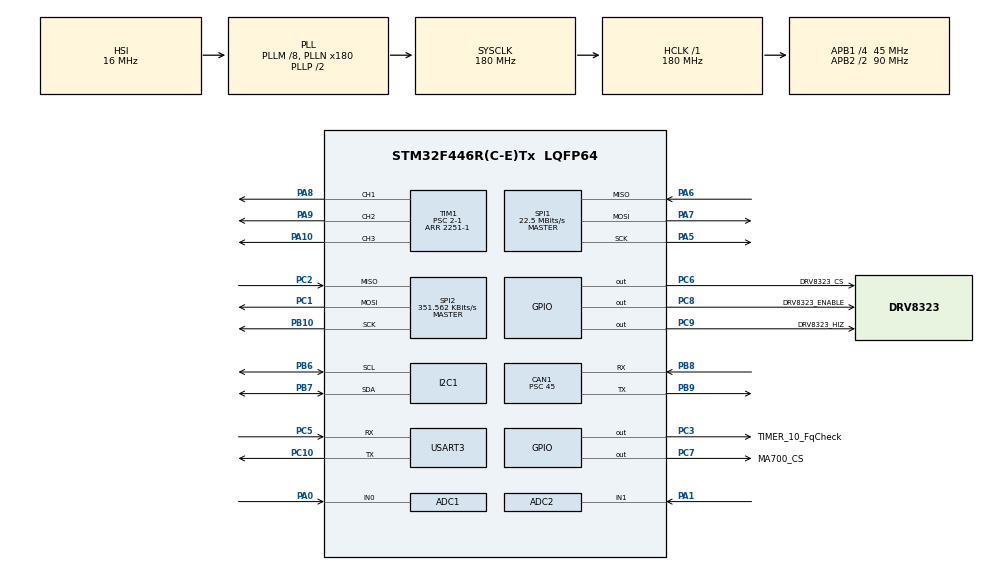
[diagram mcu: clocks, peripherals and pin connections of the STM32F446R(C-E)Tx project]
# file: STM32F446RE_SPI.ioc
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ADC1.Channel-1\#ChannelRegularConversion=ADC_CHANNEL_0
ADC1.ContinuousConvMode=DISABLE
ADC1.DMAContinuousRequests=DISABLE
ADC1.Mode=ADC_DUALMODE_INJECSIMULT
ADC1.NbrOfConversion=1
ADC1.NbrOfConversionFlag=1
ADC1.Rank-1\#ChannelRegularConversion=1
ADC1.SamplingTime-1\#ChannelRegularConversion=ADC_SAMPLETIME_15CYCLES
ADC1.ScanConvMode=DISABLE
ADC1.master=1
ADC2.Channel-1\#ChannelRegularConversion=ADC_CHANNEL_1
ADC2.Mode=ADC_DUALMODE_INJECSIMULT
ADC2.NbrOfConversionFlag=1
ADC2.Rank-1\#ChannelRegularConversion=1
ADC2.SamplingTime-1\#ChannelRegularConversion=ADC_SAMPLETIME_15CYCLES
CAN1.BS1=CAN_BS1_6TQ
CAN1.CalculateTimeQuantum=1000.0
CAN1.Prescaler=45
Mcu.Family=STM32F4
Mcu.Name=STM32F446R(C-E)Tx
Mcu.Package=LQFP64
NVIC.ADC_IRQn=true\:2\:0\:true\:false\:true\:true\:true
NVIC.CAN1_RX0_IRQn=true\:4\:0\:true\:false\:true\:true\:true
NVIC.CAN1_RX1_IRQn=true\:4\:0\:true\:false\:true\:true\:true
NVIC.CAN1_TX_IRQn=true\:4\:0\:true\:false\:true\:true\:true
NVIC.I2C1_ER_IRQn=true\:6\:0\:true\:false\:true\:true\:true
NVIC.I2C1_EV_IRQn=true\:6\:0\:true\:false\:true\:true\:true
NVIC.PriorityGroup=NVIC_PRIORITYGROUP_4
NVIC.SPI1_IRQn=true\:0\:0\:true\:false\:true\:true\:true
NVIC.SPI2_IRQn=true\:1\:0\:true\:false\:true\:true\:true
NVIC.TIM1_UP_TIM10_IRQn=true\:3\:0\:true\:false\:true\:true\:true
NVIC.USART3_IRQn=true\:4\:0\:true\:false\:true\:true\:true
PA0-WKUP.Signal=ADCx_IN0
PA1.Signal=ADCx_IN1
PA10.Signal=S_TIM1_CH3
PA13.Mode=Serial_Wire
PA13.Signal=SYS_JTMS-SWDIO
PA14.Mode=Serial_Wire
PA14.Signal=SYS_JTCK-SWCLK
PA5.Mode=Full_Duplex_Master
PA5.Signal=SPI1_SCK
PA6.Mode=Full_Duplex_Master
PA6.Signal=SPI1_MISO
PA7.Mode=Full_Duplex_Master
PA7.Signal=SPI1_MOSI
PA8.Signal=S_TIM1_CH1
PA9.Signal=S_TIM1_CH2
PB10.Mode=Full_Duplex_Master
PB10.Signal=SPI2_SCK
PB6.Mode=I2C
PB6.Signal=I2C1_SCL
PB7.Mode=I2C
PB7.Signal=I2C1_SDA
PB8.Mode=Master
PB8.Signal=CAN1_RX
PB9.Mode=Master
PB9.Signal=CAN1_TX
PC1.Mode=Full_Duplex_Master
PC1.Signal=SPI2_MOSI
PC10.Mode=Asynchronous
PC10.Signal=USART3_TX
PC2.Mode=Full_Duplex_Master
PC2.Signal=SPI2_MISO
PC3.GPIO_Label=TIMER_10_FqCheck
PC3.GPIO_Speed=GPIO_SPEED_FREQ_VERY_HIGH
PC3.Signal=GPIO_Output
PC5.Mode=Asynchronous
PC5.Signal=USART3_RX
PC6.GPIO_Label=DRV8323_CS
PC6.Signal=GPIO_Output
PC7.GPIO_Label=MA700_CS
PC7.Signal=GPIO_Output
PC8.GPIO_Label=DRV8323_ENABLE
PC8.Signal=GPIO_Output
PC9.GPIO_Label=DRV8323_HIZ
PC9.Signal=GPIO_Output
ProjectManager.HeapSize=0x200
ProjectManager.StackSize=0x400
ProjectManager.TargetToolchain=STM32CubeIDE
RCC.AHBFreq_Value=180000000
RCC.APB1CLKDivider=RCC_HCLK_DIV4
RCC.APB1Freq_Value=45000000
RCC.APB1TimFreq_Value=90000000
RCC.APB2CLKDivider=RCC_HCLK_DIV2
RCC.APB2Freq_Value=90000000
RCC.APB2TimFreq_Value=180000000
RCC.CortexFreq_Value=180000000
RCC.HCLKFreq_Value=180000000
RCC.PLLM=8
RCC.PLLN=180
RCC.SYSCLKFreq_VALUE=180000000
RCC.SYSCLKSource=RCC_SYSCLKSOURCE_PLLCLK
RCC.USBFreq_Value=180000000
RCC.VCOOutputFreq_Value=360000000
SH.ADCx_IN0.0=ADC1_IN0,IN0
SH.ADCx_IN1.0=ADC2_IN1,IN1
SH.S_TIM1_CH1.0=TIM1_CH1,PWM Generation1 CH1
SH.S_TIM1_CH2.0=TIM1_CH2,PWM Generation2 CH2
SH.S_TIM1_CH3.0=TIM1_CH3,PWM Generation3 CH3
SPI1.BaudRatePrescaler=SPI_BAUDRATEPRESCALER_4
SPI1.CLKPhase=SPI_PHASE_2EDGE
SPI1.CLKPolarity=SPI_POLARITY_HIGH
SPI1.CalculateBaudRate=22.5 MBits/s
SPI1.DataSize=SPI_DATASIZE_16BIT
SPI1.Direction=SPI_DIRECTION_2LINES
SPI1.Mode=SPI_MODE_MASTER
SPI1.VirtualType=VM_MASTER
SPI2.BaudRatePrescaler=SPI_BAUDRATEPRESCALER_128
SPI2.CLKPhase=SPI_PHASE_2EDGE
SPI2.CalculateBaudRate=351.562 KBits/s
SPI2.DataSize=SPI_DATASIZE_16BIT
SPI2.Direction=SPI_DIRECTION_2LINES
SPI2.Mode=SPI_MODE_MASTER
SPI2.VirtualType=VM_MASTER
TIM1.AutoReloadPreload=TIM_AUTORELOAD_PRELOAD_ENABLE
TIM1.Channel-PWM\ Generation1\ CH1=TIM_CHANNEL_1
TIM1.Channel-PWM\ Generation2\ CH2=TIM_CHANNEL_2
TIM1.Channel-PWM\ Generation3\ CH3=TIM_CHANNEL_3
TIM1.CounterMode=TIM_COUNTERMODE_CENTERALIGNED1
TIM1.OCFastMode_PWM-PWM\ Generation1\ CH1=TIM_OCFAST_ENABLE
TIM1.OCFastMode_PWM-PWM\ Generation2\ CH2=TIM_OCFAST_ENABLE
TIM1.OCFastMode_PWM-PWM\ Generation3\ CH3=TIM_OCFAST_ENABLE
TIM1.OCIdleState_1=TIM_OCIDLESTATE_RESET
TIM1.OCMode_PWM-PWM\ Generation1\ CH1=TIM_OCMODE_PWM1
TIM1.Period=2251-1
TIM1.Prescaler=2-1
TIM1.Pulse-PWM\ Generation1\ CH1=750
TIM1.Pulse-PWM\ Generation2\ CH2=1000
TIM1.Pulse-PWM\ Generation3\ CH3=1250
TIM1.TIM_MasterOutputTrigger=TIM_TRGO_UPDATE
TIM10.AutoReloadPreload=TIM_AUTORELOAD_PRELOAD_ENABLE
TIM10.Period=10001-1
TIM10.Prescaler=18001-1
USART3.VirtualMode=VM_ASYNC
USART3.WordLength=WORDLENGTH_8B
VP_TIM10_VS_ClockSourceINT.Mode=Enable_Timer
VP_TIM1_VS_ClockSourceINT.Mode=Internal
board=custom

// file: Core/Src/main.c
/* USER CODE BEGIN Header */
/**
  ******************************************************************************
  * @file           : main.c
  * @brief          : Main program body
  ******************************************************************************
  * @attention
  *
  * <h2><center>&copy; Copyright (c) 2020 STMicroelectronics.
  * All rights reserved.</center></h2>
  *
  * This software component is licensed by ST under BSD 3-Clause license,
  * the "License"; You may not use this file except in compliance with the
  * License. You may obtain a copy of the License at:
  *                        opensource.org/licenses/BSD-3-Clause
  *
  ******************************************************************************
  */
/* USER CODE END Header */
#include "main.h"

/* USER CODE BEGIN Includes */
#include "stdio.h"
/* USER CODE END Includes */

ADC_HandleTypeDef hadc1;
ADC_HandleTypeDef hadc2;

CAN_HandleTypeDef hcan1;

I2C_HandleTypeDef hi2c1;

SPI_HandleTypeDef hspi1;
SPI_HandleTypeDef hspi2;

TIM_HandleTypeDef htim1;
TIM_HandleTypeDef htim10;

UART_HandleTypeDef huart3;

/* USER CODE BEGIN PV */
extern CircularBuffer gRX_buffer;

extern SPIStruct s_drv832xSPI;
extern SPIStruct s_ma700xSPI;

extern CANStruct s_can1;

extern AngularPositionSensorStruct s_encoder;

uint8_t  ADC1_Flag;
uint8_t  ADC2_Flag;

uint8_t  TIMER1_Flag;
uint8_t  TIMER10_Flag;
uint32_t TIMER1_Counter;

ControllerStruct controller;
/* USER CODE END PV */

void SystemClock_Config(void);
static void MX_GPIO_Init(void);
static void MX_SPI1_Init(void);
static void MX_I2C1_Init(void);
static void MX_CAN1_Init(void);
static void MX_TIM1_Init(void);
static void MX_ADC1_Init(void);
static void MX_SPI2_Init(void);
static void MX_ADC2_Init(void);
static void MX_TIM10_Init(void);
static void MX_USART3_UART_Init(void);
/* USER CODE BEGIN PFP */
void Timer1Process(void);
void Timer10Process(void);
void Can1Process(void);
void SPI1Process(void);
void SPI2Process(void);
void ADCProcess(void);
/* USER CODE END PFP */

/* USER CODE BEGIN 0 */

/**
  * @brief  Tx Transfer completed callback.
  * @param  hspi pointer to a SPI_HandleTypeDef structure that contains
  *               the configuration information for SPI module.
  * @retval None
  */
void HAL_SPI_TxCpltCallback(SPI_HandleTypeDef *hspi)
{
  if(hspi->Instance == SPI1){
		HAL_GPIO_WritePin(MA700_CS_GPIO_Port, MA700_CS_Pin, GPIO_PIN_SET);
		s_ma700xSPI.SPI_RX_Flag = 1;
		s_encoder.raw_value 	     = s_ma700xSPI.SPI_RX_Data[0]; //Updated in callback
  }
  if(hspi->Instance == SPI2){
		HAL_GPIO_WritePin(DRV8323_CS_GPIO_Port, DRV8323_CS_Pin, GPIO_PIN_SET);
		s_drv832xSPI.SPI_RX_Flag = 1;
  }
}
/**
  * @brief  Rx Transfer completed callback.
  * @param  hspi pointer to a SPI_HandleTypeDef structure that contains
  *               the configuration information for SPI module.
  * @retval None
  */
void HAL_SPI_RxCpltCallback(SPI_HandleTypeDef *hspi){
  if(hspi->Instance == SPI1){
		HAL_GPIO_WritePin(MA700_CS_GPIO_Port, MA700_CS_Pin, GPIO_PIN_SET);
		s_ma700xSPI.SPI_RX_Flag = 1;
		s_encoder.raw_value 	     = s_ma700xSPI.SPI_RX_Data[0]; //Updated in callback
  }
  if(hspi->Instance == SPI2){
		HAL_GPIO_WritePin(DRV8323_CS_GPIO_Port, DRV8323_CS_Pin, GPIO_PIN_SET);
		s_drv832xSPI.SPI_RX_Flag = 1;
  }
}

/**
  * @brief  TxRx SPI pending callback
  * @param  hspi: pointer to a SPI_HandleTypeDef structure that contains
  *         the configuration information for the specified SPI.
  * @retval None
  */
void HAL_SPI_TxRxCpltCallback(SPI_HandleTypeDef *hspi)
{
  if(hspi->Instance == SPI1){
		HAL_GPIO_WritePin(MA700_CS_GPIO_Port, MA700_CS_Pin, GPIO_PIN_SET);
		s_ma700xSPI.SPI_RX_Flag = 1;
		s_encoder.raw_value 	     = s_ma700xSPI.SPI_RX_Data[0]; //Updated in callback
  }
  if(hspi->Instance == SPI2){
		HAL_GPIO_WritePin(DRV8323_CS_GPIO_Port, DRV8323_CS_Pin, GPIO_PIN_SET);
		s_drv832xSPI.SPI_RX_Flag = 1;
  }
}

/**
  * @brief  Rx Fifo 0 message pending callback
  * @param  hcan: pointer to a CAN_HandleTypeDef structure that contains
  *         the configuration information for the specified CAN.
  * @retval None
  */
void HAL_CAN_RxFifo0MsgPendingCallback(CAN_HandleTypeDef *hcan)
{
  if(hcan->Instance == CAN1){
	  s_can1.RxFlag = 1;
	  /* Get RX message */
	  if (HAL_CAN_GetRxMessage(hcan, CAN_RX_FIFO0, &s_can1.RxHeader, s_can1.RxData) != HAL_OK)
	  {
	    /* Reception Error */
	    Error_Handler();
	  }
  }
}

/**
  * @brief  Rx Fifo 0 message pending callback
  * @param  hcan: pointer to a CAN_HandleTypeDef structure that contains
  *         the configuration information for the specified CAN.
  * @retval None
  */
void HAL_TIM_PeriodElapsedCallback(TIM_HandleTypeDef *htim)
{
  if(htim->Instance == TIM1){
	  TIMER1_Flag = 1;
  }
  if(htim->Instance == TIM10){
	  TIMER10_Flag = 1;
  }
}

/**
  * @brief  ADC Conv pending callback
  * @param  hadc: pointer to a ADC_HandleTypeDef structure that contains
  *         the configuration information for the specified ADC.
  * @retval None
  */

void HAL_ADC_ConvCpltCallback(ADC_HandleTypeDef* hadc)
{
  if(hadc->Instance == ADC1){
	  controller.adc1_raw = HAL_ADC_GetValue (&hadc1);
	  ADC1_Flag = 1;
  }
  if(hadc->Instance == ADC2){
	  controller.adc2_raw = HAL_ADC_GetValue (&hadc2);
	  ADC2_Flag = 1;
  }
}

void HAL_ADCEx_InjectedConvCpltCallback(ADC_HandleTypeDef* hadc){
  if(hadc->Instance == ADC1){
	  ADC1_Flag = 1;
	  controller.adc1_raw = HAL_ADCEx_InjectedGetValue(hadc, ADC_INJECTED_RANK_1);
  }
  if(hadc->Instance == ADC2){
	  ADC2_Flag = 1;
	  controller.adc2_raw = HAL_ADCEx_InjectedGetValue(hadc, ADC_INJECTED_RANK_1);
  }
}

void HAL_TIM_PWM_PulseFinishedCallback (TIM_HandleTypeDef* htim){
	HAL_GPIO_TogglePin(TIMER_10_FqCheck_GPIO_Port, TIMER_10_FqCheck_Pin);
}
/**
  * @brief  Timer 1 Process pending flag.
  * Entry Count
  * @param  none
  *
  * @retval None
  */
void Timer1Process(void)
{
	if(TIMER1_Flag == 1){
		//Trigger a angle measurement
		HAL_GPIO_WritePin(MA700_CS_GPIO_Port, MA700_CS_Pin, GPIO_PIN_RESET);
		HAL_SPI_Receive_IT(&hspi1, (uint8_t*)s_ma700xSPI.SPI_RX_Data, 1);

		HAL_ADCEx_InjectedStart_IT(&hadc1); //Trigger Current Measurements
		HAL_ADCEx_InjectedStart_IT(&hadc2);

	}
	TIMER1_Flag = 0;
}

/**
  * @brief  Timer 10 Process pending flag.
  * Entry Count
  * @param  none
  *
  * @retval None
  */
void Timer10Process(void)
{
	if(TIMER10_Flag == 1){
		//Trigger a angle measurement
		printEncoder();
		printf("ADC1[]: 0x%x   ADC2[]: 0x%x\n\r", controller.adc1_raw, controller.adc2_raw);
	}
	TIMER10_Flag = 0;
}

/**
  * @brief  Can 1 Process pending flag.
  * Entry Count
  * @param  none
  *
  * @retval None
  */
void Can1Process(void)
{
	//HAL_CAN_AddTxMessage(&hcan1, &TxHeader_CAN1, &spi_ma700_rx_raw, &TxMailbox_CAN1);  //function to add message for transmition
	if(s_can1.RxFlag == 1){
		s_can1.RxFlag = 0;
		printf("\n\rCAN1_MsgRec: ID: 0x%x\n\r", s_can1.RxHeader.StdId);
	}
}

/**
  * @brief  SPI 1 Process pending flag.
  * @param  none
  *
  * @retval None
  */
void SPI1Process(void)
{
	if(s_ma700xSPI.SPI_RX_Flag == 1){
		s_ma700xSPI.SPI_RX_Flag = 0;
		updateEncoder(0.000025);
	}
}

/**
  * @brief  SPI 2 Process pending flag.
  * @param  none
  *
  * @retval None
  */
void SPI2Process(void)
{
	if(s_drv832xSPI.SPI_RX_Flag == 1){
		//Check whats in the TX register to see what we asked from the DRV. Once its set up we interact through 3xPWM
		s_drv832xSPI.SPI_RX_Flag = 0;
		printf("spi2Tx: 0x%x, spi2Rx: 0x%x\n\r", s_drv832xSPI.SPI_TX_Data[0],s_drv832xSPI.SPI_RX_Data[0]);
	}
}

/* USER CODE END 0 */

int main(void)
{

  /* MCU Configuration--------------------------------------------------------*/

  /* Reset of all peripherals, Initializes the Flash interface and the Systick. */
  HAL_Init();

  /* Configure the system clock */
  SystemClock_Config();

  /* Initialize all configured peripherals */
  MX_GPIO_Init();
  MX_SPI1_Init();
  MX_I2C1_Init();
  MX_CAN1_Init();
  MX_TIM1_Init();
  MX_ADC1_Init();
  MX_SPI2_Init();
  MX_ADC2_Init();
  MX_TIM10_Init();
  MX_USART3_UART_Init();
  /* USER CODE BEGIN 2 */
  HAL_TIM_Base_Start_IT(&htim1); //Start the timers
  HAL_TIM_PWM_Start_IT(&htim1, TIM_CHANNEL_1);
  HAL_TIM_PWM_Start_IT(&htim1, TIM_CHANNEL_4);
  HAL_TIM_Base_Start_IT(&htim10);

  DRV832x_initSPIInterface(DRV8323_CS_GPIO_Port,DRV8323_CS_Pin,&hspi2,DRV8323_ENABLE_GPIO_Port, DRV8323_ENABLE_Pin);
  DRV832x_enableHiZState(DRV8323_HIZ_GPIO_Port,DRV8323_HIZ_Pin);
  MA700_initSPIInterface(MA700_CS_GPIO_Port,MA700_CS_Pin,&hspi1);

  enable_can1(); //Start can and set filter to accept all msgs

  RetargetInit(&huart3); //Configure/Init the uart i/o interface.
  InitCommandLineProcess();

  printf("\033\143"); //Reset the putty terminal.
  printf("\rHello World\n\r");
  HAL_Delay(1);
  //MCP9808PrintTemp(&hi2c1); //I2C for shits and gigs, currently in blocking mode.

  DRV832x_read_FSR1();
  HAL_Delay(1);
  SPI2Process();
  DRV832x_read_FSR2();
  HAL_Delay(1);
  SPI2Process();
  DRV832x_blocking_configure();
  /* USER CODE END 2 */

  /* Infinite loop */
  /* USER CODE BEGIN WHILE */
  while (1)
  {
	CommandLineProcess();

	Timer1Process();
	Timer10Process();

    Can1Process();
    SPI1Process();
    SPI2Process();
    /* USER CODE END WHILE */

  }
}

void SystemClock_Config(void)
{
  RCC_OscInitTypeDef RCC_OscInitStruct = {0};
  RCC_ClkInitTypeDef RCC_ClkInitStruct = {0};

  /** Configure the main internal regulator output voltage
  */
  __HAL_RCC_PWR_CLK_ENABLE();
  __HAL_PWR_VOLTAGESCALING_CONFIG(PWR_REGULATOR_VOLTAGE_SCALE1);
  /** Initializes the RCC Oscillators according to the specified parameters
  * in the RCC_OscInitTypeDef structure.
  */
  RCC_OscInitStruct.OscillatorType = RCC_OSCILLATORTYPE_HSI;
  RCC_OscInitStruct.HSIState = RCC_HSI_ON;
  RCC_OscInitStruct.HSICalibrationValue = RCC_HSICALIBRATION_DEFAULT;
  RCC_OscInitStruct.PLL.PLLState = RCC_PLL_ON;
  RCC_OscInitStruct.PLL.PLLSource = RCC_PLLSOURCE_HSI;
  RCC_OscInitStruct.PLL.PLLM = 8;
  RCC_OscInitStruct.PLL.PLLN = 180;
  RCC_OscInitStruct.PLL.PLLP = RCC_PLLP_DIV2;
  RCC_OscInitStruct.PLL.PLLQ = 2;
  RCC_OscInitStruct.PLL.PLLR = 2;
  if (HAL_RCC_OscConfig(&RCC_OscInitStruct) != HAL_OK)
  {
    Error_Handler();
  }
  /** Activate the Over-Drive mode
  */
  if (HAL_PWREx_EnableOverDrive() != HAL_OK)
  {
    Error_Handler();
  }
  /** Initializes the CPU, AHB and APB buses clocks
  */
  RCC_ClkInitStruct.ClockType = RCC_CLOCKTYPE_HCLK|RCC_CLOCKTYPE_SYSCLK
                              |RCC_CLOCKTYPE_PCLK1|RCC_CLOCKTYPE_PCLK2;
  RCC_ClkInitStruct.SYSCLKSource = RCC_SYSCLKSOURCE_PLLCLK;
  RCC_ClkInitStruct.AHBCLKDivider = RCC_SYSCLK_DIV1;
  RCC_ClkInitStruct.APB1CLKDivider = RCC_HCLK_DIV4;
  RCC_ClkInitStruct.APB2CLKDivider = RCC_HCLK_DIV2;

  if (HAL_RCC_ClockConfig(&RCC_ClkInitStruct, FLASH_LATENCY_5) != HAL_OK)
  {
    Error_Handler();
  }
}

static void MX_ADC1_Init(void)
{

  ADC_MultiModeTypeDef multimode = {0};
  ADC_ChannelConfTypeDef sConfig = {0};

  /** Configure the global features of the ADC (Clock, Resolution, Data Alignment and number of conversion)
  */
  hadc1.Instance = ADC1;
  hadc1.Init.ClockPrescaler = ADC_CLOCK_SYNC_PCLK_DIV4;
  hadc1.Init.Resolution = ADC_RESOLUTION_12B;
  hadc1.Init.ScanConvMode = DISABLE;
  hadc1.Init.ContinuousConvMode = DISABLE;
  hadc1.Init.DiscontinuousConvMode = DISABLE;
  hadc1.Init.ExternalTrigConvEdge = ADC_EXTERNALTRIGCONVEDGE_NONE;
  hadc1.Init.ExternalTrigConv = ADC_SOFTWARE_START;
  hadc1.Init.DataAlign = ADC_DATAALIGN_RIGHT;
  hadc1.Init.NbrOfConversion = 1;
  hadc1.Init.DMAContinuousRequests = DISABLE;
  hadc1.Init.EOCSelection = ADC_EOC_SINGLE_CONV;
  if (HAL_ADC_Init(&hadc1) != HAL_OK)
  {
    Error_Handler();
  }
  /** Configure the ADC multi-mode
  */
  multimode.Mode = ADC_DUALMODE_INJECSIMULT;
  multimode.TwoSamplingDelay = ADC_TWOSAMPLINGDELAY_5CYCLES;
  if (HAL_ADCEx_MultiModeConfigChannel(&hadc1, &multimode) != HAL_OK)
  {
    Error_Handler();
  }
  /** Configure for the selected ADC regular channel its corresponding rank in the sequencer and its sample time.
  */
  sConfig.Channel = ADC_CHANNEL_0;
  sConfig.Rank = 1;
  sConfig.SamplingTime = ADC_SAMPLETIME_15CYCLES;
  if (HAL_ADC_ConfigChannel(&hadc1, &sConfig) != HAL_OK)
  {
    Error_Handler();
  }

}

static void MX_ADC2_Init(void)
{

  ADC_ChannelConfTypeDef sConfig = {0};

  /** Configure the global features of the ADC (Clock, Resolution, Data Alignment and number of conversion)
  */
  hadc2.Instance = ADC2;
  hadc2.Init.ClockPrescaler = ADC_CLOCK_SYNC_PCLK_DIV4;
  hadc2.Init.Resolution = ADC_RESOLUTION_12B;
  hadc2.Init.ScanConvMode = DISABLE;
  hadc2.Init.ContinuousConvMode = DISABLE;
  hadc2.Init.DiscontinuousConvMode = DISABLE;
  hadc2.Init.DataAlign = ADC_DATAALIGN_RIGHT;
  hadc2.Init.NbrOfConversion = 1;
  hadc2.Init.DMAContinuousRequests = DISABLE;
  hadc2.Init.EOCSelection = ADC_EOC_SINGLE_CONV;
  if (HAL_ADC_Init(&hadc2) != HAL_OK)
  {
    Error_Handler();
  }
  /** Configure for the selected ADC regular channel its corresponding rank in the sequencer and its sample time.
  */
  sConfig.Channel = ADC_CHANNEL_1;
  sConfig.Rank = 1;
  sConfig.SamplingTime = ADC_SAMPLETIME_15CYCLES;
  if (HAL_ADC_ConfigChannel(&hadc2, &sConfig) != HAL_OK)
  {
    Error_Handler();
  }

}

static void MX_CAN1_Init(void)
{

  hcan1.Instance = CAN1;
  hcan1.Init.Prescaler = 45;
  hcan1.Init.Mode = CAN_MODE_NORMAL;
  hcan1.Init.SyncJumpWidth = CAN_SJW_1TQ;
  hcan1.Init.TimeSeg1 = CAN_BS1_6TQ;
  hcan1.Init.TimeSeg2 = CAN_BS2_1TQ;
  hcan1.Init.TimeTriggeredMode = DISABLE;
  hcan1.Init.AutoBusOff = DISABLE;
  hcan1.Init.AutoWakeUp = DISABLE;
  hcan1.Init.AutoRetransmission = DISABLE;
  hcan1.Init.ReceiveFifoLocked = DISABLE;
  hcan1.Init.TransmitFifoPriority = DISABLE;
  if (HAL_CAN_Init(&hcan1) != HAL_OK)
  {
    Error_Handler();
  }

}

static void MX_I2C1_Init(void)
{

  hi2c1.Instance = I2C1;
  hi2c1.Init.ClockSpeed = 100000;
  hi2c1.Init.DutyCycle = I2C_DUTYCYCLE_2;
  hi2c1.Init.OwnAddress1 = 0;
  hi2c1.Init.AddressingMode = I2C_ADDRESSINGMODE_7BIT;
  hi2c1.Init.DualAddressMode = I2C_DUALADDRESS_DISABLE;
  hi2c1.Init.OwnAddress2 = 0;
  hi2c1.Init.GeneralCallMode = I2C_GENERALCALL_DISABLE;
  hi2c1.Init.NoStretchMode = I2C_NOSTRETCH_DISABLE;
  if (HAL_I2C_Init(&hi2c1) != HAL_OK)
  {
    Error_Handler();
  }

}

static void MX_SPI1_Init(void)
{

  /* SPI1 parameter configuration*/
  hspi1.Instance = SPI1;
  hspi1.Init.Mode = SPI_MODE_MASTER;
  hspi1.Init.Direction = SPI_DIRECTION_2LINES;
  hspi1.Init.DataSize = SPI_DATASIZE_16BIT;
  hspi1.Init.CLKPolarity = SPI_POLARITY_HIGH;
  hspi1.Init.CLKPhase = SPI_PHASE_2EDGE;
  hspi1.Init.NSS = SPI_NSS_SOFT;
  hspi1.Init.BaudRatePrescaler = SPI_BAUDRATEPRESCALER_4;
  hspi1.Init.FirstBit = SPI_FIRSTBIT_MSB;
  hspi1.Init.TIMode = SPI_TIMODE_DISABLE;
  hspi1.Init.CRCCalculation = SPI_CRCCALCULATION_DISABLE;
  hspi1.Init.CRCPolynomial = 10;
  if (HAL_SPI_Init(&hspi1) != HAL_OK)
  {
    Error_Handler();
  }

}

static void MX_SPI2_Init(void)
{

  /* SPI2 parameter configuration*/
  hspi2.Instance = SPI2;
  hspi2.Init.Mode = SPI_MODE_MASTER;
  hspi2.Init.Direction = SPI_DIRECTION_2LINES;
  hspi2.Init.DataSize = SPI_DATASIZE_16BIT;
  hspi2.Init.CLKPolarity = SPI_POLARITY_LOW;
  hspi2.Init.CLKPhase = SPI_PHASE_2EDGE;
  hspi2.Init.NSS = SPI_NSS_SOFT;
  hspi2.Init.BaudRatePrescaler = SPI_BAUDRATEPRESCALER_128;
  hspi2.Init.FirstBit = SPI_FIRSTBIT_MSB;
  hspi2.Init.TIMode = SPI_TIMODE_DISABLE;
  hspi2.Init.CRCCalculation = SPI_CRCCALCULATION_DISABLE;
  hspi2.Init.CRCPolynomial = 10;
  if (HAL_SPI_Init(&hspi2) != HAL_OK)
  {
    Error_Handler();
  }

}

static void MX_TIM1_Init(void)
{

  TIM_ClockConfigTypeDef sClockSourceConfig = {0};
  TIM_MasterConfigTypeDef sMasterConfig = {0};
  TIM_OC_InitTypeDef sConfigOC = {0};
  TIM_BreakDeadTimeConfigTypeDef sBreakDeadTimeConfig = {0};

  htim1.Instance = TIM1;
  htim1.Init.Prescaler = 2-1;
  htim1.Init.CounterMode = TIM_COUNTERMODE_CENTERALIGNED1;
  htim1.Init.Period = 2251-1;
  htim1.Init.ClockDivision = TIM_CLOCKDIVISION_DIV1;
  htim1.Init.RepetitionCounter = 0;
  htim1.Init.AutoReloadPreload = TIM_AUTORELOAD_PRELOAD_ENABLE;
  if (HAL_TIM_Base_Init(&htim1) != HAL_OK)
  {
    Error_Handler();
  }
  sClockSourceConfig.ClockSource = TIM_CLOCKSOURCE_INTERNAL;
  if (HAL_TIM_ConfigClockSource(&htim1, &sClockSourceConfig) != HAL_OK)
  {
    Error_Handler();
  }
  if (HAL_TIM_PWM_Init(&htim1) != HAL_OK)
  {
    Error_Handler();
  }
  sMasterConfig.MasterOutputTrigger = TIM_TRGO_UPDATE;
  sMasterConfig.MasterSlaveMode = TIM_MASTERSLAVEMODE_DISABLE;
  if (HAL_TIMEx_MasterConfigSynchronization(&htim1, &sMasterConfig) != HAL_OK)
  {
    Error_Handler();
  }
  sConfigOC.OCMode = TIM_OCMODE_PWM1;
  sConfigOC.Pulse = 750;
  sConfigOC.OCPolarity = TIM_OCPOLARITY_HIGH;
  sConfigOC.OCNPolarity = TIM_OCNPOLARITY_HIGH;
  sConfigOC.OCFastMode = TIM_OCFAST_ENABLE;
  sConfigOC.OCIdleState = TIM_OCIDLESTATE_RESET;
  sConfigOC.OCNIdleState = TIM_OCNIDLESTATE_RESET;
  if (HAL_TIM_PWM_ConfigChannel(&htim1, &sConfigOC, TIM_CHANNEL_1) != HAL_OK)
  {
    Error_Handler();
  }
  sConfigOC.Pulse = 1000;
  if (HAL_TIM_PWM_ConfigChannel(&htim1, &sConfigOC, TIM_CHANNEL_2) != HAL_OK)
  {
    Error_Handler();
  }
  sConfigOC.Pulse = 1250;
  if (HAL_TIM_PWM_ConfigChannel(&htim1, &sConfigOC, TIM_CHANNEL_3) != HAL_OK)
  {
    Error_Handler();
  }
  sBreakDeadTimeConfig.OffStateRunMode = TIM_OSSR_DISABLE;
  sBreakDeadTimeConfig.OffStateIDLEMode = TIM_OSSI_DISABLE;
  sBreakDeadTimeConfig.LockLevel = TIM_LOCKLEVEL_OFF;
  sBreakDeadTimeConfig.DeadTime = 0;
  sBreakDeadTimeConfig.BreakState = TIM_BREAK_DISABLE;
  sBreakDeadTimeConfig.BreakPolarity = TIM_BREAKPOLARITY_HIGH;
  sBreakDeadTimeConfig.AutomaticOutput = TIM_AUTOMATICOUTPUT_DISABLE;
  if (HAL_TIMEx_ConfigBreakDeadTime(&htim1, &sBreakDeadTimeConfig) != HAL_OK)
  {
    Error_Handler();
  }
  HAL_TIM_MspPostInit(&htim1);

}

static void MX_TIM10_Init(void)
{

  htim10.Instance = TIM10;
  htim10.Init.Prescaler = 18001-1;
  htim10.Init.CounterMode = TIM_COUNTERMODE_UP;
  htim10.Init.Period = 10001-1;
  htim10.Init.ClockDivision = TIM_CLOCKDIVISION_DIV1;
  htim10.Init.AutoReloadPreload = TIM_AUTORELOAD_PRELOAD_ENABLE;
  if (HAL_TIM_Base_Init(&htim10) != HAL_OK)
  {
    Error_Handler();
  }

}

static void MX_USART3_UART_Init(void)
{

  huart3.Instance = USART3;
  huart3.Init.BaudRate = 115200;
  huart3.Init.WordLength = UART_WORDLENGTH_8B;
  huart3.Init.StopBits = UART_STOPBITS_1;
  huart3.Init.Parity = UART_PARITY_NONE;
  huart3.Init.Mode = UART_MODE_TX_RX;
  huart3.Init.HwFlowCtl = UART_HWCONTROL_NONE;
  huart3.Init.OverSampling = UART_OVERSAMPLING_16;
  if (HAL_UART_Init(&huart3) != HAL_OK)
  {
    Error_Handler();
  }

}

static void MX_GPIO_Init(void)
{
  GPIO_InitTypeDef GPIO_InitStruct = {0};

  /* GPIO Ports Clock Enable */
  __HAL_RCC_GPIOC_CLK_ENABLE();
  __HAL_RCC_GPIOA_CLK_ENABLE();
  __HAL_RCC_GPIOB_CLK_ENABLE();

  /*Configure GPIO pin Output Level */
  HAL_GPIO_WritePin(GPIOC, TIMER_10_FqCheck_Pin|DRV8323_CS_Pin|MA700_CS_Pin|DRV8323_ENABLE_Pin
                          |DRV8323_HIZ_Pin, GPIO_PIN_RESET);

  /*Configure GPIO pin : TIMER_10_FqCheck_Pin */
  GPIO_InitStruct.Pin = TIMER_10_FqCheck_Pin;
  GPIO_InitStruct.Mode = GPIO_MODE_OUTPUT_PP;
  GPIO_InitStruct.Pull = GPIO_NOPULL;
  GPIO_InitStruct.Speed = GPIO_SPEED_FREQ_VERY_HIGH;
  HAL_GPIO_Init(TIMER_10_FqCheck_GPIO_Port, &GPIO_InitStruct);

  /*Configure GPIO pins : DRV8323_CS_Pin MA700_CS_Pin DRV8323_ENABLE_Pin DRV8323_HIZ_Pin */
  GPIO_InitStruct.Pin = DRV8323_CS_Pin|MA700_CS_Pin|DRV8323_ENABLE_Pin|DRV8323_HIZ_Pin;
  GPIO_InitStruct.Mode = GPIO_MODE_OUTPUT_PP;
  GPIO_InitStruct.Pull = GPIO_NOPULL;
  GPIO_InitStruct.Speed = GPIO_SPEED_FREQ_LOW;
  HAL_GPIO_Init(GPIOC, &GPIO_InitStruct);

}

void Error_Handler(void)
{
}

/************************ (C) COPYRIGHT STMicroelectronics *****END OF FILE****/
